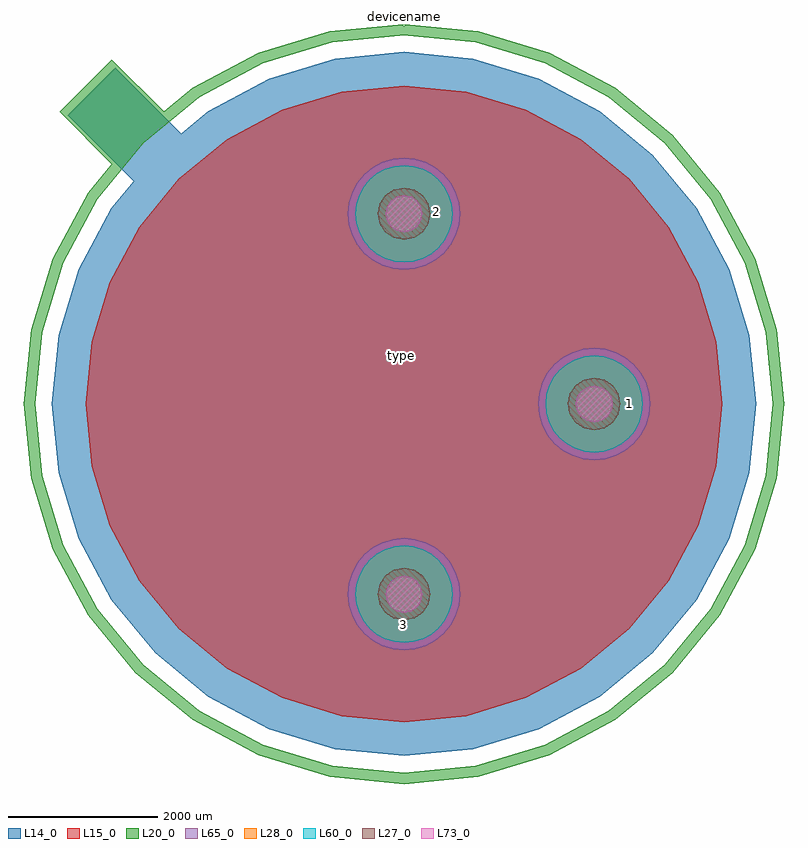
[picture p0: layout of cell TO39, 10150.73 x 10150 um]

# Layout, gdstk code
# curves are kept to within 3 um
import gdstk
lib = gdstk.Library(unit=1e-6, precision=1e-09)
def P(c, l, *ps):  # polygons
    for p in ps: c.add(gdstk.Polygon(p, *l))
L14_0 = (14, 0)
L15_0 = (15, 0)
L20_0 = (20, 0)
L27_0 = (27, 0)
L28_0 = (28, 0)
L60_0 = (60, 0)
L65_0 = (65, 0)
L73_0 = (73, 0)

to39 = lib.new_cell('TO39')
P(to39, L14_0, [(0,4701.064),(-917.132,4610.734),(-1799.019,4343.217),(-2611.771,3908.792),(-2974.616,3611.012),(-3853.732,4490.128),(-4490.128,3853.732),(-3611.012,2974.616),(-3908.792,2611.771),(-4343.217,1799.019),(-4610.734,917.132),(-4701.064,0),(-4610.734,-917.132),(-4343.217,-1799.019),(-3908.792,-2611.771),(-3324.154,-3324.154),(-2611.771,-3908.792),(-1799.019,-4343.217),(-917.132,-4610.734),(0,-4701.064),(917.132,-4610.734),(1799.019,-4343.217),(2611.771,-3908.792),(3324.154,-3324.154),(3908.792,-2611.771),(4343.217,-1799.019),(4610.734,-917.132),(4701.064,0),(4610.734,917.132),(4343.217,1799.019),(3908.792,2611.771),(3324.154,3324.154),(2611.771,3908.792),(1799.019,4343.217),(917.132,4610.734)])
P(to39, L15_0, [(4250,0),(4168.337,829.134),(3926.488,1626.405),(3533.746,2361.173),(3005.204,3005.204),(2361.173,3533.746),(1626.405,3926.488),(829.134,4168.337),(0,4250),(-829.134,4168.337),(-1626.405,3926.488),(-2361.173,3533.746),(-3005.204,3005.204),(-3533.746,2361.173),(-3926.488,1626.405),(-4168.337,829.134),(-4250,0),(-4168.337,-829.134),(-3926.488,-1626.405),(-3533.746,-2361.173),(-3005.204,-3005.204),(-2361.173,-3533.746),(-1626.405,-3926.488),(-829.134,-4168.337),(0,-4250),(829.134,-4168.337),(1626.405,-3926.488),(2361.173,-3533.746),(3005.204,-3005.204),(3533.746,-2361.173),(3926.488,-1626.405),(4168.337,-829.134)])
P(to39, L20_0, [(-4600,3900),(-3900,3200),(-3200,3900),(-3900,4600)])
P(to39, L27_0, [(2890,0),(2863.358,133.939),(2787.487,247.487),(2673.939,323.358),(2540,350),(2406.061,323.358),(2292.513,247.487),(2216.642,133.939),(2190,0),(2216.642,-133.939),(2292.513,-247.487),(2406.061,-323.358),(2540,-350),(2673.939,-323.358),(2787.487,-247.487),(2863.358,-133.939)],
  [(350,-2540),(323.358,-2406.061),(247.487,-2292.513),(133.939,-2216.642),(0,-2190),(-133.939,-2216.642),(-247.487,-2292.513),(-323.358,-2406.061),(-350,-2540),(-323.358,-2673.939),(-247.487,-2787.487),(-133.939,-2863.358),(0,-2890),(133.939,-2863.358),(247.487,-2787.487),(323.358,-2673.939)],
  [(350,2540),(323.358,2673.939),(247.487,2787.487),(133.939,2863.358),(0,2890),(-133.939,2863.358),(-247.487,2787.487),(-323.358,2673.939),(-350,2540),(-323.358,2406.061),(-247.487,2292.513),(-133.939,2216.642),(0,2190),(133.939,2216.642),(247.487,2292.513),(323.358,2406.061)])
P(to39, L28_0, [(2540,650),(2413.191,637.51),(2291.256,600.522),(2178.879,540.455),(2080.381,459.619),(1999.545,361.121),(1939.478,248.744),(1902.49,126.809),(1890,0),(1902.49,-126.809),(1939.478,-248.744),(1999.545,-361.121),(2080.381,-459.619),(2178.879,-540.455),(2291.256,-600.522),(2413.191,-637.51),(2540,-650),(2666.809,-637.51),(2788.744,-600.522),(2901.121,-540.455),(2999.619,-459.619),(3080.455,-361.121),(3140.522,-248.744),(3177.51,-126.809),(3190,0),(3177.51,126.809),(3140.522,248.744),(3080.455,361.121),(2999.619,459.619),(2901.121,540.455),(2788.744,600.522),(2666.809,637.51)],
  [(0,-1890),(-126.809,-1902.49),(-248.744,-1939.478),(-361.121,-1999.545),(-459.619,-2080.381),(-540.455,-2178.879),(-600.522,-2291.256),(-637.51,-2413.191),(-650,-2540),(-637.51,-2666.809),(-600.522,-2788.744),(-540.455,-2901.121),(-459.619,-2999.619),(-361.121,-3080.455),(-248.744,-3140.522),(-126.809,-3177.51),(0,-3190),(126.809,-3177.51),(248.744,-3140.522),(361.121,-3080.455),(459.619,-2999.619),(540.455,-2901.121),(600.522,-2788.744),(637.51,-2666.809),(650,-2540),(637.51,-2413.191),(600.522,-2291.256),(540.455,-2178.879),(459.619,-2080.381),(361.121,-1999.545),(248.744,-1939.478),(126.809,-1902.49)],
  [(0,3190),(-126.809,3177.51),(-248.744,3140.522),(-361.121,3080.455),(-459.619,2999.619),(-540.455,2901.121),(-600.522,2788.744),(-637.51,2666.809),(-650,2540),(-637.51,2413.191),(-600.522,2291.256),(-540.455,2178.879),(-459.619,2080.381),(-361.121,1999.545),(-248.744,1939.478),(-126.809,1902.49),(0,1890),(126.809,1902.49),(248.744,1939.478),(361.121,1999.545),(459.619,2080.381),(540.455,2178.879),(600.522,2291.256),(637.51,2413.191),(650,2540),(637.51,2666.809),(600.522,2788.744),(540.455,2901.121),(459.619,2999.619),(361.121,3080.455),(248.744,3140.522),(126.809,3177.51)])
P(to39, L60_0, [(2540,650),(2413.191,637.51),(2291.256,600.522),(2178.879,540.455),(2080.381,459.619),(1999.545,361.121),(1939.478,248.744),(1902.49,126.809),(1890,0),(1902.49,-126.809),(1939.478,-248.744),(1999.545,-361.121),(2080.381,-459.619),(2178.879,-540.455),(2291.256,-600.522),(2413.191,-637.51),(2540,-650),(2666.809,-637.51),(2788.744,-600.522),(2901.121,-540.455),(2999.619,-459.619),(3080.455,-361.121),(3140.522,-248.744),(3177.51,-126.809),(3190,0),(3177.51,126.809),(3140.522,248.744),(3080.455,361.121),(2999.619,459.619),(2901.121,540.455),(2788.744,600.522),(2666.809,637.51)],
  [(0,-1890),(-126.809,-1902.49),(-248.744,-1939.478),(-361.121,-1999.545),(-459.619,-2080.381),(-540.455,-2178.879),(-600.522,-2291.256),(-637.51,-2413.191),(-650,-2540),(-637.51,-2666.809),(-600.522,-2788.744),(-540.455,-2901.121),(-459.619,-2999.619),(-361.121,-3080.455),(-248.744,-3140.522),(-126.809,-3177.51),(0,-3190),(126.809,-3177.51),(248.744,-3140.522),(361.121,-3080.455),(459.619,-2999.619),(540.455,-2901.121),(600.522,-2788.744),(637.51,-2666.809),(650,-2540),(637.51,-2413.191),(600.522,-2291.256),(540.455,-2178.879),(459.619,-2080.381),(361.121,-1999.545),(248.744,-1939.478),(126.809,-1902.49)],
  [(0,3190),(-126.809,3177.51),(-248.744,3140.522),(-361.121,3080.455),(-459.619,2999.619),(-540.455,2901.121),(-600.522,2788.744),(-637.51,2666.809),(-650,2540),(-637.51,2413.191),(-600.522,2291.256),(-540.455,2178.879),(-459.619,2080.381),(-361.121,1999.545),(-248.744,1939.478),(-126.809,1902.49),(0,1890),(126.809,1902.49),(248.744,1939.478),(361.121,1999.545),(459.619,2080.381),(540.455,2178.879),(600.522,2291.256),(637.51,2413.191),(650,2540),(637.51,2666.809),(600.522,2788.744),(540.455,2901.121),(459.619,2999.619),(361.121,3080.455),(248.744,3140.522),(126.809,3177.51)])
P(to39, L65_0, [(3275.826,-146.366),(3290.242,0.003),(3275.826,146.366),(3233.133,287.106),(3163.802,416.815),(3070.502,530.502),(2956.814,623.803),(2827.105,693.133),(2686.365,735.826),(2540,750.242),(2393.635,735.826),(2252.895,693.133),(2123.186,623.803),(2009.498,530.502),(1916.198,416.815),(1846.867,287.106),(1804.174,146.366),(1789.758,-0.003),(1804.174,-146.366),(1846.867,-287.106),(1916.198,-416.815),(2009.498,-530.502),(2123.186,-623.803),(2252.895,-693.133),(2393.635,-735.826),(2540,-750.242),(2686.365,-735.826),(2827.105,-693.133),(2956.814,-623.803),(3070.502,-530.502),(3163.802,-416.815),(3233.133,-287.106)],
  [(735.826,-2686.366),(750.242,-2539.997),(735.826,-2393.634),(693.133,-2252.894),(623.802,-2123.185),(530.502,-2009.498),(416.814,-1916.197),(287.105,-1846.867),(146.365,-1804.174),(0,-1789.758),(-146.365,-1804.174),(-287.105,-1846.867),(-416.814,-1916.197),(-530.502,-2009.498),(-623.802,-2123.185),(-693.133,-2252.894),(-735.826,-2393.634),(-750.242,-2540.003),(-735.826,-2686.366),(-693.133,-2827.106),(-623.802,-2956.815),(-530.502,-3070.502),(-416.814,-3163.803),(-287.105,-3233.133),(-146.365,-3275.826),(0,-3290.242),(146.365,-3275.826),(287.105,-3233.133),(416.814,-3163.803),(530.502,-3070.502),(623.802,-2956.815),(693.133,-2827.106)],
  [(735.826,2393.634),(750.242,2540.003),(735.826,2686.366),(693.133,2827.106),(623.802,2956.815),(530.502,3070.502),(416.814,3163.803),(287.105,3233.133),(146.365,3275.826),(0,3290.242),(-146.365,3275.826),(-287.105,3233.133),(-416.814,3163.803),(-530.502,3070.502),(-623.802,2956.815),(-693.133,2827.106),(-735.826,2686.366),(-750.242,2539.997),(-735.826,2393.634),(-693.133,2252.894),(-623.802,2123.185),(-530.502,2009.498),(-416.814,1916.197),(-287.105,1846.867),(-146.365,1804.174),(0,1789.758),(146.365,1804.174),(287.105,1846.867),(416.814,1916.197),(530.502,2009.498),(623.802,2123.185),(693.133,2252.894)])
P(to39, L73_0, [(2785,0),(2766.35,93.757),(2713.241,173.241),(2633.757,226.35),(2540,245),(2446.243,226.35),(2366.759,173.241),(2313.65,93.757),(2295,0),(2313.65,-93.757),(2366.759,-173.241),(2446.243,-226.35),(2540,-245),(2633.757,-226.35),(2713.241,-173.241),(2766.35,-93.757)],
  [(245,-2540),(226.35,-2446.243),(173.241,-2366.759),(93.757,-2313.65),(0,-2295),(-93.757,-2313.65),(-173.241,-2366.759),(-226.35,-2446.243),(-245,-2540),(-226.35,-2633.757),(-173.241,-2713.241),(-93.757,-2766.35),(0,-2785),(93.757,-2766.35),(173.241,-2713.241),(226.35,-2633.757)],
  [(245,2540),(226.35,2633.757),(173.241,2713.241),(93.757,2766.35),(0,2785),(-93.757,2766.35),(-173.241,2713.241),(-226.35,2633.757),(-245,2540),(-226.35,2446.243),(-173.241,2366.759),(-93.757,2313.65),(0,2295),(93.757,2313.65),(173.241,2366.759),(226.35,2446.243)])
to39.add(gdstk.FlexPath([(0,5000),(-975.452,4903.926),(-1913.417,4619.398),(-2777.851,4157.348),(-3535.534,3535.534),(-4157.348,2777.851),(-4619.398,1913.417),(-4903.926,975.452),(-5000,0),(-4903.926,-975.452),(-4619.398,-1913.417),(-4157.348,-2777.851),(-3535.534,-3535.534),(-2777.851,-4157.348),(-1913.417,-4619.398),(-975.452,-4903.926),(0,-5000),(975.452,-4903.926),(1913.417,-4619.398),(2777.851,-4157.348),(3535.534,-3535.534),(4157.348,-2777.851),(4619.398,-1913.417),(4903.926,-975.452),(5000,0),(4903.926,975.452),(4619.398,1913.417),(4157.348,2777.851),(3535.534,3535.534),(2777.851,4157.348),(1913.417,4619.398),(975.452,4903.926),(0,5000)], 150, ends="flush", simple_path=True, layer=20, datatype=0))  # L20_0
to39.add(gdstk.Label('1', (3010,0), layer=28, texttype=0))
to39.add(gdstk.Label('devicename', (0,5170), layer=20, texttype=0))
to39.add(gdstk.Label('type', (-33.052,646.14), layer=11, texttype=0))
to39.add(gdstk.Label('2', (440,2570), layer=28, texttype=0))
to39.add(gdstk.Label('3', (-10,-2950), layer=28, texttype=0))

lib.write_gds('TO39.gds')
